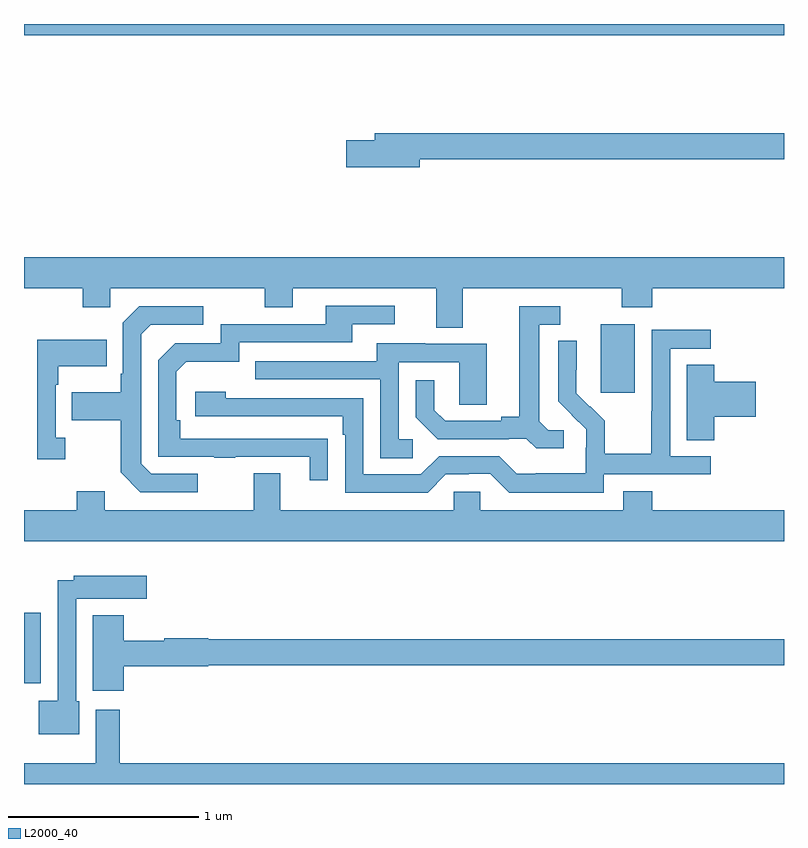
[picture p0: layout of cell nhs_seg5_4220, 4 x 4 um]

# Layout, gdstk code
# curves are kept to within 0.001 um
import gdstk
lib = gdstk.Library(unit=1e-6, precision=1e-09)
def R(c, l, rs):  # rectangles x0, y0, x1, y1
    for r in rs: c.add(gdstk.rectangle(r[:2], r[2:], *l))
def P(c, l, *ps):  # polygons
    for p in ps: c.add(gdstk.Polygon(p, *l))
L2000_40 = (2000, 40)

nhs_seg5_4220 = lib.new_cell('nhs_seg5_4220')
R(nhs_seg5_4220, L2000_40, [(359,873.33,359.089,873.7), (362.036,874.857,362.215,875.218), (359,876.74,363,876.799)])
P(nhs_seg5_4220, L2000_40, [(361.084,876.088),(363,876.088),(363,876.224),(360.845,876.224),(360.845,876.188),(360.696,876.188),(360.696,876.046),(361.084,876.046)],
  [(361.309,875.408),(362.146,875.408),(362.146,875.309),(362.306,875.309),(362.306,875.408),(363,875.408),(363,875.572),(359,875.572),(359,875.408),(359.308,875.408),(359.308,875.309),(359.454,875.309),(359.454,875.408),(360.268,875.408),(360.268,875.309),(360.415,875.309),(360.415,875.408),(361.169,875.408),(361.169,875.2),(361.309,875.2)],
  [(360.599,874.616),(359.822,874.617),(359.822,874.714),(359.802,874.714),(359.802,874.968),(359.855,875.021),(360.132,875.021),(360.132,875.124),(360.727,875.124),(360.727,875.22),(360.952,875.22),(360.952,875.316),(360.587,875.316),(360.587,875.22),(360.036,875.22),(360.036,875.118),(359.796,875.118),(359.706,875.028),(359.706,874.521),(360.001,874.521),(360.001,874.516),(360.113,874.516),(360.113,874.521),(360.503,874.521),(360.503,874.398),(360.599,874.398)],
  [(361.84,874.662),(361.758,874.662),(361.711,874.709),(361.711,875.217),(361.822,875.217),(361.822,875.313),(361.607,875.313),(361.607,874.733),(361.511,874.733),(361.511,874.71),(361.216,874.71),(361.159,874.767),(361.159,874.924),(361.062,874.924),(361.062,874.73),(361.178,874.614),(361.55,874.614),(361.55,874.617),(361.644,874.617),(361.696,874.565),(361.84,874.565)],
  [(359.914,874.431),(359.67,874.431),(359.616,874.485),(359.616,875.166),(359.667,875.217),(359.944,875.217),(359.944,875.313),(359.607,875.313),(359.52,875.226),(359.52,874.957),(359.508,874.957),(359.508,874.861),(359.251,874.861),(359.251,874.714),(359.508,874.714),(359.508,874.441),(359.613,874.335),(359.914,874.335)],
  [(362.052,874.428),(362.614,874.428),(362.614,874.524),(362.4,874.524),(362.4,875.091),(362.614,875.091),(362.614,875.19),(362.304,875.19),(362.304,874.76),(362.302,874.76),(362.302,874.537),(362.057,874.537),(362.057,874.711),(361.98,874.788),(361.977,874.785),(361.907,874.856),(361.908,875.132),(361.812,875.132),(361.812,874.814),(361.958,874.666),(361.958,874.569),(361.956,874.569),(361.956,874.435),(361.693,874.435),(361.693,874.431),(361.593,874.431),(361.5,874.524),(361.185,874.524),(361.089,874.428),(360.786,874.428),(360.786,874.83),(360.062,874.83),(360.062,874.864),(359.901,874.864),(359.901,874.734),(360.677,874.734),(360.677,874.637),(360.69,874.637),(360.69,874.332),(361.125,874.332),(361.221,874.428),(361.34,874.428),(361.34,874.431),(361.455,874.431),(361.555,874.331),(362.052,874.331)],
  [(359.218,874.622),(359.166,874.622),(359.166,874.901),(359.179,874.901),(359.179,874.997),(359.435,874.997),(359.435,875.137),(359.069,875.137),(359.069,874.509),(359.218,874.509)],
  [(361.045,874.614),(360.972,874.614),(360.972,875.019),(361.29,875.019),(361.29,874.795),(361.435,874.795),(361.435,875.115),(361.111,875.115),(361.111,875.119),(360.857,875.119),(360.857,875.025),(360.217,875.025),(360.217,874.929),(360.876,874.929),(360.876,874.513),(361.045,874.513)],
  [(362.633,874.733),(362.851,874.733),(362.851,874.916),(362.633,874.916),(362.633,875.006),(362.489,875.006),(362.489,874.609),(362.633,874.609)],
  [(363,874.24),(362.306,874.24),(362.306,874.339),(362.153,874.339),(362.153,874.24),(361.401,874.24),(361.401,874.338),(361.263,874.338),(361.263,874.24),(360.349,874.24),(360.349,874.435),(360.209,874.435),(360.209,874.24),(359.425,874.24),(359.425,874.339),(359.278,874.339),(359.278,874.24),(359,874.24),(359,874.076),(363,874.076)],
  [(359.29,873.234),(359.274,873.234),(359.274,873.774),(359.371,873.774),(359.371,873.773),(359.647,873.773),(359.647,873.895),(359.262,873.895),(359.262,873.872),(359.178,873.872),(359.178,873.238),(359.078,873.238),(359.078,873.062),(359.29,873.062)],
  [(359.525,873.419),(359.97,873.419),(359.97,873.424),(363,873.424),(363,873.56),(359.97,873.56),(359.97,873.566),(359.739,873.566),(359.739,873.553),(359.525,873.553),(359.525,873.688),(359.363,873.688),(359.363,873.291),(359.525,873.291)],
  [(363,872.908),(359.504,872.908),(359.504,873.19),(359.378,873.19),(359.378,872.908),(359,872.908),(359,872.799),(363,872.799)])

lib.write_gds('nhs_seg5_4220.gds')
